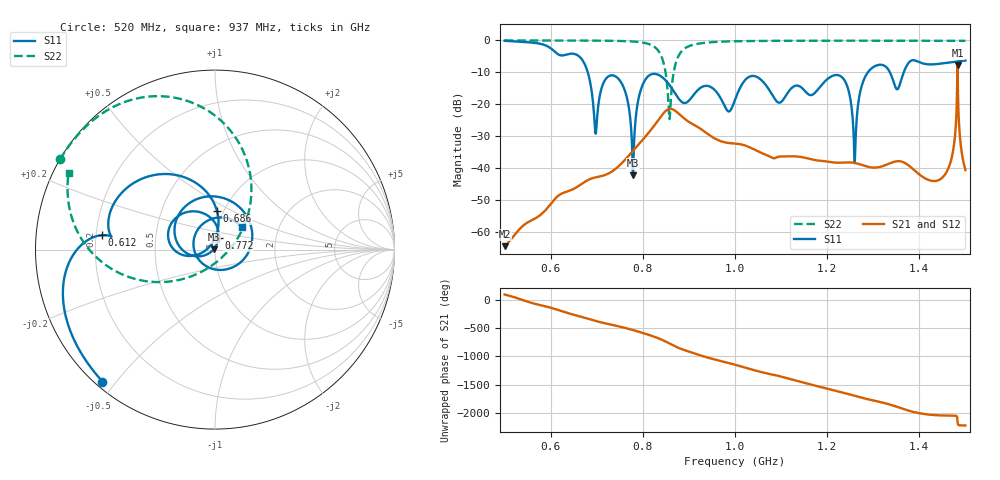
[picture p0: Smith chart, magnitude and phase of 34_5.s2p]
! TOUCHSTONE file generated by CST MICROWAVE STUDIO
! Date and time: Mon Nov 30 08:09:51 2020
! Project name: Scenario_1_Planar_Body_Tissue_Out_of_Line.cst
! Parameters = {dy1=224.9; L_HA=400; Ltissue=700; MT=2.54; Rad_Dielectric=30; Rad_Lower=7.3; Rad_Upper=30; Wtissue=700; a_HA=580; a_WG=246; b_HA=500; b_WG=121; c_HA=0; c_WG=187; d_feed=85; dx1=866; h_feed=15; h_lower=18; h_upper=40; hfat=3; hgap=25; hmuscle=50; hskin=1.5}
! Header version: 2018
! Port assignment regex: !\s*Touchstone port\s*([0-9]+)\s*=\s*(CST MWS port|CST DS port)\s*([0-9]+|Zmin|Zmax)\s*\(\"(.*)\"\)(\s*mode\s*([0-9]+))?.*
! Touchstone port assignment:
! Touchstone port 1 = CST MWS port 1 ("")
! Touchstone port 2 = CST MWS port 2 ("")
# GHz S DB R 50
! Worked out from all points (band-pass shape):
!   1003 points, 500 MHz to 1.5 GHz, reference 50 ohm
!   highest |S21| = -7.82 dB at 1.483 GHz (marker M1); lowest = -64.5 dB at 500 MHz (marker M2)
!   |S21| within 3 dB of the highest: 1.482586 GHz to 1.483321 GHz (735.2 kHz wide, 0.0496 % of centre)
!   lowest |S11| = -42.3 dB at 779 MHz (marker M3), VSWR 1.02, Z = 49.3 + j0.145 ohm
!   |S11| at or under -10 dB: 680.4 MHz to 1.288 GHz (608 MHz wide, 61.8 % of centre); 1.336 GHz to 1.366 GHz (30.09 MHz wide, 2.23 % of centre)
!   |S22| runs from -24.7 to 0.0 dB; largest |S21 - S12| = 0.045
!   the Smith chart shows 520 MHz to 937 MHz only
!   S11 on the Smith chart (normalised r, x): 520 MHz: 0.02, -0.46; 612 MHz: 0.22, +0.06; 686 MHz: 0.93, +0.42; 772 MHz: 1.03, +0.13; 937 MHz: 1.30, +0.34
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0.5  -0.12 -122.1  -64.55 92.6  -64.55 92.6  -0.01 151.1
0.52  -0.30 -130.5  -61.33 47.8  -61.31 47.7  -0.01 149.8
0.612  -3.92 172.7  -49.30 -170.2  -49.30 -170.2  -0.02 143.2
0.667  -5.80 124.9  -45.03 58.6  -45.03 58.6  -0.04 138.4
0.686  -13.38 87.0  -43.47 13.0  -43.47 13.0  -0.05 136.4
0.697  -29.15 126.1  -42.98 -13.1  -42.98 -13.1  -0.06 135.2
0.733  -10.94 148.8  -41.11 -83.6  -41.11 -83.6  -0.12 130.4
0.772  -23.56 72.5  -35.73 -160.4  -35.73 -160.4  -0.28 122.6
0.779  -42.31 168.9  -34.58 -176.3  -34.58 -176.3  -0.34 120.6
0.798  -14.48 178.2  -31.44 137.6  -31.44 137.6  -0.63 113.6
0.834  -10.81 76.7  -24.88 37.7  -24.88 37.7  -3.32 83.9
0.858  -14.02 4.2  -21.49 -55.0  -21.49 -55.0  -24.70 -50.2
0.937  -14.24 40.2  -28.94 65.6  -28.94 65.6  -0.71 152.3
1  -18.62 116.5  -32.36 -68.9  -32.36 -68.9  -0.26 140.2
1.167  -17.10 -179.9  -37.35 -64.9  -37.35 -64.9  -0.10 124.2
1.232  -11.52 -2.4  -38.33 161.4  -38.34 161.4  -0.08 119.2
1.26  -38.50 -173.9  -38.45 99.1  -38.45 99.1  -0.09 117.1
1.284  -11.00 59.1  -39.46 47.9  -39.46 47.9  -0.08 115.3
1.334  -9.43 -21.0  -38.67 -49.3  -38.67 -49.3  -0.09 111.5
1.447  -7.27 -31.4  -43.39 113.4  -43.39 113.3  -0.11 102.5
1.483  -6.56 -40.5  -7.82 4.0  -8.33 9.6  -0.12 99.5
1.5  -6.31 -45.7  -40.68 -64.3  -40.68 -64.3  -0.13 98.0
